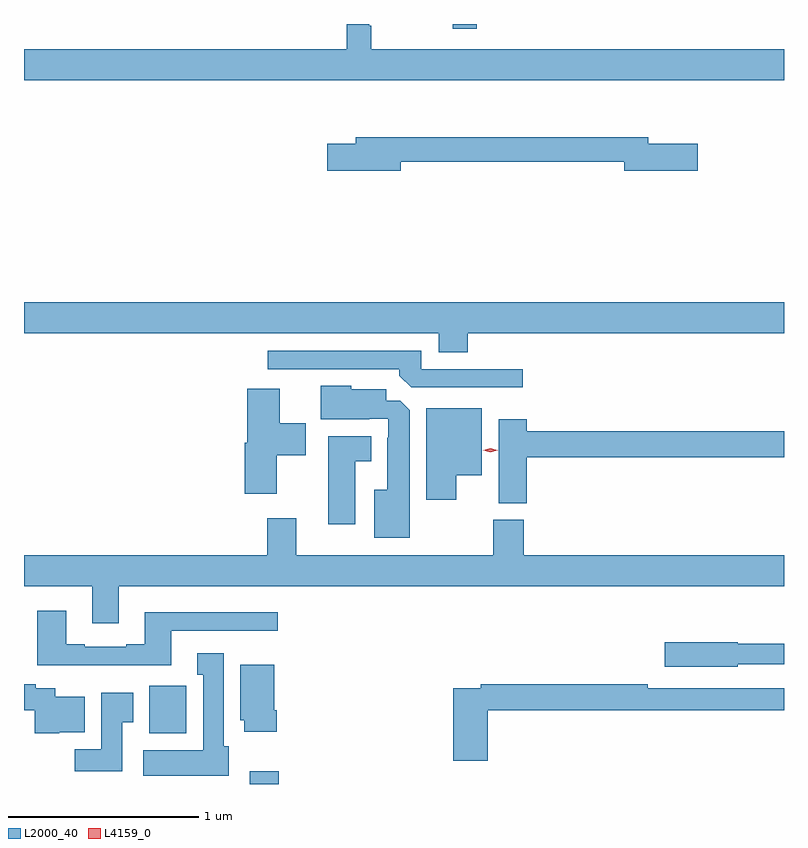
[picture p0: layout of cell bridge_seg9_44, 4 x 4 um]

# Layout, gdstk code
import gdstk
lib = gdstk.Library(unit=1e-6, precision=1e-09)
def R(c, l, rs):  # rectangles x0, y0, x1, y1
    for r in rs: c.add(gdstk.rectangle(r[:2], r[2:], *l))
def P(c, l, *ps):  # polygons
    for p in ps: c.add(gdstk.Polygon(p, *l))
L2000_40 = (2000, 40)
L4159_0 = (4159, 0)

bridge_seg9_44 = lib.new_cell('bridge_seg9_44')
R(bridge_seg9_44, L2000_40, [(915.731,1208.7,915.884,1208.767), (915.203,1208.966,915.399,1209.217), (916.8,1212.675,916.928,1212.7)])
P(bridge_seg9_44, L2000_40, [(918.544,1212.568),(916.372,1212.568),(916.372,1212.692),(916.36,1212.692),(916.36,1212.7),(916.243,1212.7),(916.243,1212.568),(914.544,1212.568),(914.544,1212.404),(918.544,1212.404)],
  [(916.528,1211.974),(917.702,1211.974),(917.702,1211.927),(918.091,1211.927),(918.091,1212.069),(917.83,1212.069),(917.83,1212.103),(916.289,1212.103),(916.289,1212.069),(916.14,1212.069),(916.14,1211.927),(916.528,1211.927)],
  [(916.88,1211.072),(918.544,1211.072),(918.544,1211.236),(914.544,1211.236),(914.544,1211.072),(916.727,1211.072),(916.727,1210.973),(916.88,1210.973)],
  [(917.17,1210.884),(916.635,1210.884),(916.635,1210.98),(915.828,1210.98),(915.828,1210.884),(916.52,1210.884),(916.52,1210.85),(916.581,1210.788),(917.17,1210.788)],
  [(916.573,1210.667),(916.524,1210.716),(916.45,1210.716),(916.45,1210.777),(916.266,1210.777),(916.266,1210.795),(916.106,1210.795),(916.106,1210.619),(916.361,1210.619),(916.361,1210.623),(916.461,1210.623),(916.461,1210.523),(916.457,1210.523),(916.457,1210.249),(916.388,1210.249),(916.388,1209.995),(916.573,1209.995)],
  [(915.874,1210.431),(916.027,1210.431),(916.027,1210.6),(915.889,1210.6),(915.889,1210.78),(915.719,1210.78),(915.719,1210.496),(915.707,1210.496),(915.707,1210.227),(915.874,1210.227)],
  [(916.819,1210.325),(916.954,1210.325),(916.954,1210.678),(916.661,1210.678),(916.661,1210.197),(916.819,1210.197)],
  [(917.189,1210.42),(918.544,1210.42),(918.544,1210.556),(917.189,1210.556),(917.189,1210.621),(917.042,1210.621),(917.042,1210.177),(917.189,1210.177)],
  [(916.288,1210.4),(916.372,1210.4),(916.372,1210.531),(916.145,1210.531),(916.145,1210.068),(916.288,1210.068)],
  [(915.043,1209.74),(918.544,1209.74),(918.544,1209.904),(917.174,1209.904),(917.174,1210.092),(917.014,1210.092),(917.014,1209.904),(915.976,1209.904),(915.976,1210.099),(915.824,1210.099),(915.824,1209.904),(914.544,1209.904),(914.544,1209.74),(914.903,1209.74),(914.903,1209.546),(915.043,1209.546)],
  [(915.319,1209.507),(915.88,1209.507),(915.88,1209.604),(915.179,1209.604),(915.179,1209.436),(915.083,1209.436),(915.083,1209.423),(914.863,1209.423),(914.863,1209.436),(914.767,1209.436),(914.767,1209.613),(914.615,1209.613),(914.615,1209.326),(915.319,1209.326)],
  [(918.3,1209.33),(918.544,1209.33),(918.544,1209.439),(918.3,1209.439),(918.3,1209.447),(917.916,1209.447),(917.916,1209.317),(918.3,1209.317)],
  [(915.622,1208.898),(915.595,1208.898),(915.595,1209.388),(915.455,1209.388),(915.455,1209.275),(915.488,1209.275),(915.488,1208.878),(915.171,1208.878),(915.171,1208.744),(915.622,1208.744)],
  [(915.875,1209.088),(915.862,1209.088),(915.862,1209.328),(915.683,1209.328),(915.683,1209.036),(915.704,1209.036),(915.704,1208.976),(915.875,1208.976)],
  [(916.985,1209.088),(918.544,1209.088),(918.544,1209.204),(917.828,1209.204),(917.828,1209.224),(916.948,1209.224),(916.948,1209.204),(916.802,1209.204),(916.802,1208.823),(916.985,1208.823)],
  [(914.73,1208.972),(914.863,1208.972),(914.863,1209.16),(914.709,1209.16),(914.709,1209.204),(914.606,1209.204),(914.606,1209.224),(914.544,1209.224),(914.544,1209.088),(914.601,1209.088),(914.601,1208.966),(914.73,1208.966)],
  [(915.061,1209.025),(915.118,1209.025),(915.118,1209.181),(914.951,1209.181),(914.951,1208.884),(914.812,1208.884),(914.812,1208.766),(915.061,1208.766)])
P(bridge_seg9_44, L4159_0, [(916.999,1210.446),(916.961,1210.456),(916.961,1210.456),(916.961,1210.457),(916.999,1210.466),(917.037,1210.457),(917.037,1210.456),(917.037,1210.456)])

lib.write_gds('bridge_seg9_44.gds')
